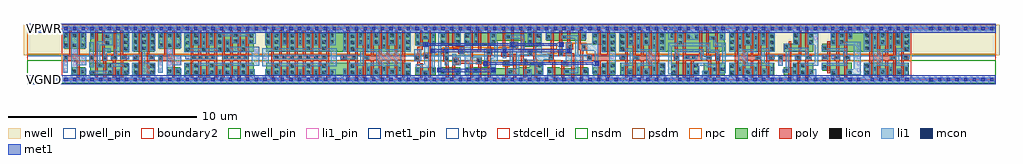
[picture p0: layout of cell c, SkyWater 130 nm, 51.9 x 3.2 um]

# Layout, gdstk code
import gdstk
lib = gdstk.Library(unit=1e-6, precision=1e-09)
def R(c, l, rs):  # rectangles x0, y0, x1, y1
    for r in rs: c.add(gdstk.rectangle(r[:2], r[2:], *l))
def A(c, l, x, y, w, h, nx, ny, dx, dy):  # array of equal rectangles
    R(c, l, [(x+i*dx, y+j*dy, x+i*dx+w, y+j*dy+h) for i in range(nx) for j in range(ny)])
def P(c, l, *ps):  # polygons
    for p in ps: c.add(gdstk.Polygon(p, *l))
nwell_pin = (64, 16)
nwell = (64, 20)
diff = (65, 20)
poly = (66, 20)
licon = (66, 44)
li1_pin = (67, 16)
li1 = (67, 20)
mcon = (67, 44)
met1_pin = (68, 16)
met1 = (68, 20)
hvtp = (78, 44)
stdcell_id = (81, 4)
nsdm = (93, 44)
psdm = (94, 20)
npc = (95, 20)
pwell_pin = (122, 16)
boundary2 = (236, 0)

c_c = lib.new_cell('c')
A(c_c, nwell_pin, 5.66, 2.635, 0.17, 0.17, 3, 1, 1.385, 0)
R(c_c, nwell_pin, [(47.94,2.61,48.225,2.765), (1.985,2.635,2.155,2.805), (3.365,2.635,3.535,2.805), (12.565,2.635,12.735,2.805), (16.515,2.635,16.685,2.805), (20.65,2.635,20.82,2.805), (20.65,2.635,20.82,2.805), (31.555,2.635,31.725,2.805), (34.16,2.635,34.33,2.805), (39.535,2.635,39.705,2.805), (40,2.635,40.17,2.805), (42.305,2.635,42.475,2.805), (46.7,2.635,46.87,2.805), (0.175,2.65,0.3,2.78)])
R(c_c, nwell, [(-0.19,1.305,2.03,2.91), (1.65,1.305,3.41,2.91), (3.03,1.305,5.71,2.91), (5.33,1.305,7.09,2.91), (6.71,1.305,8.47,2.91), (8.09,1.305,12.61,2.91), (12.23,1.305,16.75,2.91), (16.175,1.305,20.695,2.91), (20.315,1.305,31.735,2.91), (31.215,1.305,34.355,2.91), (33.825,1.305,37.425,2.91), (36.905,1.305,40.045,2.91), (39.665,1.305,42.345,2.91), (41.965,1.305,44.645,2.91), (44.07,1.305,47.21,2.91), (46.83,1.305,51.71,2.91)])
R(c_c, diff, [(2.39,0.235,3.085,0.655), (3.355,0.235,5.385,0.885), (5.675,0.235,6.765,0.885), (7.45,0.235,8.145,0.655), (8.415,0.235,12.045,0.885), (12.72,0.235,16.76,0.885), (16.76,0.235,20.37,0.885), (20.64,0.235,21.73,0.655), (22,0.235,23.03,0.655), (23.3,0.235,24.92,0.655), (24.92,0.235,26.14,0.595), (26.14,0.235,26.735,0.655), (26.735,0.235,27.395,0.875), (27.665,0.235,28.325,0.655), (28.325,0.235,29.165,0.595), (29.165,0.235,29.825,0.655), (30.095,0.235,30.58,0.655), (30.58,0.235,31.27,0.885), (31.54,0.235,33.89,0.885), (34.25,0.235,35.7,0.885), (35.97,0.235,37.1,0.885), (37.37,0.235,39.72,0.885), (40.225,0.235,40.71,0.655), (40.71,0.235,41.8,0.885), (42.775,0.235,43.865,0.885), (44.535,0.235,46.885,0.885), (42.29,0.465,42.775,0.885), (3.355,1.485,5.385,2.485), (5.675,1.485,6.765,2.485), (8.415,1.485,12.055,2.485), (12.72,1.485,16.76,2.485), (16.76,1.485,20.37,2.485), (30.58,1.485,31.27,2.485), (31.54,1.485,34.15,2.485), (34.15,1.485,37.1,2.485), (37.37,1.485,39.72,2.485), (40.23,1.485,40.77,1.905), (40.77,1.485,41.8,2.485), (42.29,1.485,42.775,1.905), (42.775,1.485,44.535,2.485), (44.535,1.485,46.885,2.485), (1.975,1.645,3.085,2.485), (7.035,1.645,8.145,2.485), (26.48,1.735,27.325,2.485), (20.64,1.815,21.73,2.455), (22,1.845,23.03,2.485), (23.3,1.845,24.92,2.485), (30.085,1.845,30.58,2.485), (24.92,2.065,26.48,2.485), (27.595,2.065,29.715,2.485)])
A(c_c, poly, 8.695, 0.105, 0.15, 2.51, 8, 1, 0.42, 0)
A(c_c, poly, 12.98, 0.105, 0.15, 2.51, 8, 1, 0.42, 0)
A(c_c, poly, 17.02, 0.105, 0.15, 2.51, 8, 1, 0.42, 0)
A(c_c, poly, 31.8, 0.105, 0.15, 2.51, 5, 1, 0.42, 0)
A(c_c, poly, 37.63, 0.105, 0.15, 2.51, 5, 1, 0.42, 0)
A(c_c, poly, 44.795, 0.105, 0.15, 2.51, 5, 1, 0.42, 0)
A(c_c, poly, 8.845, 0.995, 0.27, 0.33, 3, 1, 0.42, 0)
A(c_c, poly, 10.525, 0.995, 0.27, 0.33, 3, 1, 0.42, 0)
A(c_c, poly, 13.13, 0.995, 0.27, 0.33, 7, 1, 0.42, 0)
A(c_c, poly, 18.01, 1.025, 0.27, 0.27, 5, 1, 0.42, 0)
A(c_c, poly, 32.37, 1.025, 0.27, 0.27, 3, 1, 0.42, 0)
A(c_c, poly, 37.78, 1.025, 0.27, 0.27, 3, 1, 0.42, 0)
A(c_c, poly, 44.945, 1.025, 0.27, 0.27, 3, 1, 0.42, 0)
R(c_c, poly, [(2.65,0.105,2.655,1.345), (2.655,0.105,2.8,2.615), (3.615,0.105,3.765,2.615), (4.05,0.105,4.14,2.615), (4.14,0.105,4.2,1.325), (4.555,0.105,4.605,1.325), (4.605,0.105,4.705,2.615), (4.975,0.105,5.115,2.615), (5.115,0.105,5.125,1.325), (5.935,0.105,6.085,2.615), (6.355,0.105,6.505,2.615), (7.71,0.105,7.715,1.345), (7.715,0.105,7.86,2.615), (20.9,0.105,21.05,0.88), (21.32,0.105,21.47,2.585), (22.26,0.105,22.41,2.615), (22.62,0.105,22.63,0.88), (22.63,0.105,22.77,1.175), (23.56,0.105,23.71,2.615), (24,0.105,24.15,1.175), (24.51,0.105,24.66,2.615), (25.42,0.105,25.57,1.005), (25.86,0.105,26.01,1.365), (26.39,0.105,26.405,2.615), (26.405,0.105,26.54,1.065), (26.985,0.105,27.065,2.615), (27.065,0.105,27.135,1.1), (27.925,0.105,28.005,2.615), (28.005,0.105,28.075,1.045), (28.41,0.105,28.56,1.035), (28.94,0.105,29.09,1.395), (29.415,0.105,29.45,2.615), (29.45,0.105,29.565,1.905), (30.355,0.105,30.505,2.615), (30.84,0.105,30.99,2.615), (34.51,0.105,34.6,2.615), (34.6,0.105,34.66,1.325), (34.87,0.105,35.02,2.615), (35.29,0.105,35.44,1.325), (36.23,0.105,36.26,2.615), (36.26,0.105,36.38,1.325), (36.65,0.105,36.74,2.615), (36.74,0.105,36.8,1.325), (40.485,0.105,40.49,1.325), (40.49,0.105,40.635,2.035), (40.97,0.105,41.03,1.325), (41.03,0.105,41.12,2.615), (41.39,0.105,41.54,2.615), (43.035,0.105,43.185,2.615), (43.455,0.105,43.605,2.615), (42.55,0.335,42.7,2.035), (28.56,0.705,28.73,1.035), (20.74,0.73,20.89,1.74), (20.89,0.73,20.9,0.88), (25.32,0.735,25.42,1.005), (25.57,0.735,25.65,1.005), (26.255,0.795,26.39,2.615), (26.54,0.795,26.625,1.065), (22.77,0.81,22.96,1.175), (23.92,0.845,24,1.175), (24.15,0.845,24.19,1.175), (22.96,0.85,23.56,1), (27.73,0.895,27.855,1.375), (27.855,0.895,27.925,2.615), (26.915,0.95,26.985,2.615), (2.23,0.975,2.235,1.325), (2.235,0.975,2.385,2.615), (2.385,0.975,2.65,1.345), (7.29,0.975,7.295,1.325), (7.295,0.975,7.445,2.615), (7.445,0.975,7.71,1.345), (22.12,0.98,22.26,1.65), (22.41,0.98,22.42,1.65), (1.945,0.995,2.23,1.325), (3.325,0.995,3.615,1.325), (3.99,0.995,4.05,2.615), (4.2,0.995,4.275,1.325), (4.485,0.995,4.555,1.325), (4.705,0.995,4.755,2.615), (4.965,0.995,4.975,2.615), (5.125,0.995,5.295,1.325), (5.625,0.995,5.935,1.325), (6.505,0.995,6.795,1.325), (7.005,0.995,7.29,1.325), (20.62,0.995,20.74,1.325), (29.795,0.995,30.355,1.325), (30.505,0.995,30.84,1.325), (34.39,0.995,34.45,1.325), (34.45,0.995,34.51,2.615), (35.02,0.995,35.29,1.325), (35.44,0.995,35.75,1.325), (35.75,0.995,35.9,2.615), (36.11,0.995,36.23,2.615), (36.59,0.995,36.65,2.615), (36.8,0.995,36.86,1.325), (39.96,0.995,40.485,1.325), (40.635,0.995,40.64,2.035), (40.85,0.995,40.97,1.325), (41.12,0.995,41.18,2.615), (41.54,0.995,41.72,1.325), (42.265,0.995,42.55,1.325), (42.91,0.995,43.035,1.325), (43.185,0.995,43.24,1.325), (43.605,0.995,43.785,1.325), (31.545,1.015,31.8,1.305), (39.46,1.015,39.715,1.305), (46.625,1.015,46.88,1.305), (16.69,1.025,17.02,1.295), (17.17,1.025,17.44,1.295), (32.215,1.025,32.22,1.295), (39.04,1.025,39.045,1.295), (46.205,1.025,46.21,1.295), (21.1,1.1,21.32,1.37), (2.8,1.195,2.805,2.615), (7.86,1.195,7.865,2.615), (25.22,1.215,25.285,1.485), (25.285,1.215,25.435,2.615), (25.435,1.215,25.55,1.485), (25.55,1.215,25.86,1.365), (28.245,1.245,28.31,1.575), (28.31,1.245,28.46,2.615), (28.46,1.245,28.515,1.575), (28.515,1.245,28.94,1.395), (26.615,1.275,26.915,1.545), (24.46,1.32,24.51,1.65), (24.66,1.32,24.73,1.65), (22.92,1.385,23.25,1.77), (23.71,1.46,24,1.61), (24,1.46,24.15,2.615), (25.74,1.575,25.89,2.615), (25.89,1.575,26.045,1.905), (29.3,1.575,29.415,2.615), (29.565,1.575,29.705,1.905), (20.89,1.59,20.9,1.74), (20.9,1.59,21.05,2.585), (28.725,1.605,28.73,1.875), (28.73,1.605,28.88,2.615), (28.88,1.605,29.055,1.875), (22.63,1.62,22.77,2.615), (22.77,1.62,22.92,1.77), (22.62,1.715,22.63,2.615)])
A(c_c, licon, 12.76, 0.295, 0.17, 0.17, 9, 2, 0.42, 1.62)
A(c_c, licon, 8.475, 0.305, 0.17, 0.17, 9, 1, 0.42, 0)
A(c_c, licon, 40.75, 0.305, 0.17, 0.17, 3, 1, 0.42, 0)
A(c_c, licon, 16.8, 0.315, 0.17, 0.17, 4, 1, 0.84, 0)
A(c_c, licon, 18.06, 0.475, 0.17, 0.17, 3, 2, 0.84, 1.195)
A(c_c, licon, 31.58, 0.475, 0.17, 0.17, 3, 1, 0.84, 0)
A(c_c, licon, 37.83, 0.475, 0.17, 0.17, 3, 1, 0.84, 0)
A(c_c, licon, 44.995, 0.475, 0.17, 0.17, 3, 1, 0.84, 0)
A(c_c, licon, 13.18, 0.635, 0.17, 0.17, 4, 2, 0.84, 0.94)
A(c_c, licon, 8.895, 0.645, 0.17, 0.17, 4, 1, 0.84, 0)
A(c_c, licon, 8.795, 1.075, 0.17, 0.17, 4, 1, 0.34, 0)
A(c_c, licon, 10.49, 1.075, 0.17, 0.17, 4, 1, 0.34, 0)
A(c_c, licon, 13.18, 1.075, 0.17, 0.17, 7, 1, 0.42, 0)
A(c_c, licon, 8.475, 1.535, 0.17, 0.17, 3, 1, 0.84, 0)
A(c_c, licon, 17.22, 1.545, 0.17, 0.17, 1, 3, 0, 0.34)
A(c_c, licon, 30.62, 1.545, 0.17, 0.17, 1, 3, 0, 0.34)
A(c_c, licon, 31.05, 1.545, 0.17, 0.17, 1, 3, 0, 0.34)
A(c_c, licon, 31.58, 1.545, 0.17, 0.17, 1, 3, 0, 0.34)
A(c_c, licon, 39.51, 1.545, 0.17, 0.17, 1, 3, 0, 0.34)
A(c_c, licon, 46.675, 1.545, 0.17, 0.17, 1, 3, 0, 0.34)
A(c_c, licon, 5.165, 1.555, 0.17, 0.17, 1, 3, 0, 0.34)
A(c_c, licon, 5.715, 1.575, 0.17, 0.17, 3, 3, 0.42, 0.34)
A(c_c, licon, 2.015, 1.745, 0.17, 0.17, 3, 2, 0.42, 0.51)
A(c_c, licon, 7.075, 1.745, 0.17, 0.17, 3, 2, 0.42, 0.51)
A(c_c, licon, 16.8, 1.915, 0.17, 0.17, 5, 2, 0.84, 0.34)
A(c_c, licon, 32, 1.915, 0.17, 0.17, 3, 2, 0.84, 0.34)
A(c_c, licon, 37.41, 1.915, 0.17, 0.17, 3, 2, 0.84, 0.34)
A(c_c, licon, 44.575, 1.915, 0.17, 0.17, 3, 2, 0.84, 0.34)
A(c_c, licon, 18.06, 2.145, 0.17, 0.17, 3, 1, 0.84, 0)
A(c_c, licon, 12.76, 2.255, 0.17, 0.17, 9, 1, 0.42, 0)
A(c_c, licon, 42.815, 2.255, 0.17, 0.17, 3, 1, 0.42, 0)
R(c_c, licon, [(4.755,0.275,4.925,0.445), (5.715,0.295,5.885,0.465), (6.555,0.295,6.725,0.465), (17.22,0.295,17.39,0.465), (20.16,0.295,20.33,0.465), (21.1,0.295,21.27,0.465), (22.82,0.295,22.99,0.465), (33.68,0.295,33.85,0.465), (37.41,0.295,37.58,0.465), (42.815,0.295,42.985,0.465), (43.655,0.295,43.825,0.465), (44.575,0.295,44.745,0.465), (30.135,0.3,30.305,0.47), (3.395,0.305,3.565,0.475), (4.315,0.305,4.485,0.475), (5.175,0.305,5.345,0.475), (27.185,0.305,27.355,0.475), (34.29,0.305,34.46,0.475), (35.07,0.305,35.24,0.475), (35.49,0.305,35.66,0.475), (36.01,0.305,36.18,0.475), (30.62,0.31,30.79,0.48), (31.05,0.31,31.22,0.48), (32,0.315,32.17,0.485), (32.84,0.315,33.01,0.485), (38.25,0.315,38.42,0.485), (39.09,0.315,39.26,0.485), (45.415,0.315,45.585,0.485), (46.255,0.315,46.425,0.485), (25.62,0.325,25.79,0.495), (22.04,0.33,22.21,0.5), (26.595,0.335,26.765,0.505), (2.85,0.34,3.02,0.51), (7.91,0.34,8.08,0.51), (2.43,0.35,2.6,0.52), (7.49,0.35,7.66,0.52), (28.625,0.35,28.795,0.52), (23.77,0.36,23.94,0.53), (24.71,0.36,24.88,0.53), (27.705,0.365,27.875,0.535), (29.615,0.365,29.785,0.535), (40.265,0.37,40.435,0.54), (20.68,0.425,20.85,0.595), (21.52,0.425,21.69,0.595), (23.34,0.425,23.51,0.595), (36.43,0.47,36.6,0.64), (36.89,0.47,37.06,0.64), (42.33,0.605,42.5,0.775), (5.715,0.635,5.885,0.805), (6.555,0.635,6.725,0.805), (17.22,0.635,17.39,0.805), (20.16,0.635,20.33,0.805), (33.68,0.635,33.85,0.805), (37.41,0.635,37.58,0.805), (44.575,0.635,44.745,0.805), (3.815,0.645,3.985,0.815), (4.315,0.645,4.485,0.815), (5.175,0.645,5.345,0.815), (8.475,0.645,8.645,0.815), (27.185,0.645,27.355,0.815), (34.29,0.645,34.46,0.815), (35.07,0.645,35.24,0.815), (35.49,0.645,35.66,0.815), (40.75,0.645,40.92,0.815), (41.17,0.645,41.34,0.815), (30.62,0.65,30.79,0.82), (31.05,0.65,31.22,0.82), (25.4,0.785,25.57,0.955), (28.51,0.785,28.68,0.955), (26.375,0.845,26.545,1.015), (22.71,0.925,22.88,1.095), (23.97,0.925,24.14,1.095), (22.2,1.06,22.37,1.23), (1.995,1.075,2.165,1.245), (3.375,1.075,3.545,1.245), (4.055,1.075,4.225,1.245), (4.535,1.075,4.705,1.245), (5.055,1.075,5.225,1.245), (5.7,1.075,5.87,1.245), (6.54,1.075,6.71,1.245), (7.055,1.075,7.225,1.245), (16.825,1.075,16.995,1.245), (17.3,1.075,17.47,1.245), (17.94,1.075,18.11,1.245), (20.67,1.075,20.84,1.245), (29.845,1.075,30.015,1.245), (31.625,1.075,31.795,1.245), (32.295,1.075,32.465,1.245), (34.44,1.075,34.61,1.245), (35.025,1.075,35.195,1.245), (35.365,1.075,35.535,1.245), (36.16,1.075,36.33,1.245), (36.64,1.075,36.81,1.245), (38.795,1.075,38.965,1.245), (39.465,1.075,39.635,1.245), (40.01,1.075,40.18,1.245), (40.93,1.075,41.1,1.245), (41.47,1.075,41.64,1.245), (42.345,1.075,42.515,1.245), (42.99,1.075,43.16,1.245), (43.535,1.075,43.705,1.245), (45.96,1.075,46.13,1.245), (46.63,1.075,46.8,1.245), (27.78,1.125,27.95,1.295), (21.18,1.15,21.35,1.32), (25.3,1.265,25.47,1.435), (26.695,1.325,26.865,1.495), (28.295,1.325,28.465,1.495), (22.2,1.4,22.37,1.57), (24.51,1.4,24.68,1.57), (23,1.435,23.17,1.605), (10.575,1.535,10.745,1.705), (11.415,1.535,11.585,1.705), (16.8,1.575,16.97,1.745), (20.16,1.575,20.33,1.745), (33.68,1.575,33.85,1.745), (37.41,1.575,37.58,1.745), (42.33,1.575,42.5,1.745), (44.575,1.575,44.745,1.745), (40.27,1.645,40.44,1.815), (25.825,1.655,25.995,1.825), (28.805,1.655,28.975,1.825), (29.485,1.655,29.655,1.825), (32.42,1.67,32.59,1.84), (33.26,1.67,33.43,1.84), (37.83,1.67,38,1.84), (38.67,1.67,38.84,1.84), (44.995,1.67,45.165,1.84), (45.835,1.67,46.005,1.84), (27.115,1.795,27.285,1.965), (4.19,1.875,4.36,2.045), (8.475,1.875,8.645,2.045), (9.315,1.875,9.485,2.045), (10.575,1.875,10.745,2.045), (11.415,1.875,11.585,2.045), (20.68,1.875,20.85,2.045), (21.52,1.875,21.69,2.045), (34.65,1.875,34.82,2.045), (22.04,1.905,22.21,2.075), (23.34,1.905,23.51,2.075), (23.77,1.905,23.94,2.075), (30.125,1.905,30.295,2.075), (8.895,1.915,9.065,2.085), (9.735,1.915,9.905,2.085), (10.155,1.915,10.325,2.085), (11.835,1.915,12.005,2.085), (22.82,1.915,22.99,2.085), (24.71,1.915,24.88,2.085), (26.665,1.915,26.835,2.085), (40.81,1.915,40.98,2.085), (41.59,1.915,41.76,2.085), (42.815,1.915,42.985,2.085), (43.235,1.915,43.405,2.085), (10.995,1.935,11.165,2.105), (36.37,2.125,36.54,2.295), (21.1,2.135,21.27,2.305), (32.42,2.145,32.59,2.315), (33.26,2.145,33.43,2.315), (37.83,2.145,38,2.315), (38.67,2.145,38.84,2.315), (44.995,2.145,45.165,2.315), (45.835,2.145,46.005,2.315), (28.51,2.175,28.68,2.345), (25.5,2.19,25.67,2.36), (27.635,2.19,27.805,2.36), (35.07,2.205,35.24,2.375), (35.53,2.205,35.7,2.375), (36.83,2.205,37,2.375), (4.19,2.215,4.36,2.385), (8.475,2.215,8.645,2.385), (9.315,2.215,9.485,2.385), (20.68,2.215,20.85,2.385), (21.52,2.215,21.69,2.385), (29.505,2.215,29.675,2.385), (34.65,2.215,34.82,2.385), (3.395,2.255,3.565,2.425), (8.895,2.255,9.065,2.425), (9.735,2.255,9.905,2.425), (10.155,2.255,10.325,2.425), (11.835,2.255,12.005,2.425), (22.04,2.255,22.21,2.425), (22.82,2.255,22.99,2.425), (23.34,2.255,23.51,2.425), (23.77,2.255,23.94,2.425), (24.71,2.255,24.88,2.425), (26.665,2.255,26.835,2.425), (27.115,2.255,27.285,2.425), (30.125,2.255,30.295,2.425), (34.23,2.255,34.4,2.425), (40.81,2.255,40.98,2.425), (41.59,2.255,41.76,2.425), (10.995,2.275,11.165,2.445)])
A(c_c, li1_pin, 44.14, 0.425, 0.17, 0.17, 1, 5, 0, 0.34)
A(c_c, li1_pin, 1.985, 0.765, 0.17, 0.17, 4, 1, 0.46, 0)
A(c_c, li1_pin, 7.045, 0.765, 0.17, 0.17, 3, 2, 0.46, 0.34)
A(c_c, li1_pin, 18.575, 0.765, 0.17, 0.17, 1, 3, 0, 0.34)
A(c_c, li1_pin, 32.935, 0.765, 0.17, 0.17, 1, 3, 0, 0.34)
A(c_c, li1_pin, 38.155, 0.765, 0.17, 0.17, 1, 3, 0, 0.34)
A(c_c, li1_pin, 45.32, 0.765, 0.17, 0.17, 1, 3, 0, 0.34)
A(c_c, li1_pin, 1.985, 1.105, 0.17, 0.17, 3, 1, 0.46, 0)
A(c_c, li1_pin, 5.66, 1.105, 0.17, 0.17, 3, 1, 0.46, 0)
A(c_c, li1_pin, 13.485, 1.105, 0.17, 0.17, 7, 1, 0.46, 0)
R(c_c, li1_pin, [(16.515,-0.085,16.685,0.085), (31.555,-0.085,31.725,0.085), (39.535,-0.085,39.705,0.085), (46.7,-0.085,46.87,0.085), (1.985,0.425,2.155,0.595), (6.12,0.425,6.29,0.595), (7.045,0.425,7.215,0.595), (6.12,0.765,6.29,0.935), (22.635,0.765,22.805,0.935), (40,0.765,40.17,0.935), (5.205,1.105,5.375,1.275), (8.43,1.105,8.6,1.275), (8.89,1.105,9.06,1.275), (11.19,1.105,11.36,1.275), (12.565,1.105,12.735,1.275), (16.755,1.105,16.925,1.275), (17.255,1.105,17.425,1.275), (20.65,1.105,20.82,1.275), (22.225,1.105,22.395,1.275), (31.03,1.105,31.2,1.275), (31.555,1.105,31.725,1.275), (35.08,1.105,35.25,1.275), (39.535,1.105,39.705,1.275), (40,1.105,40.17,1.275), (40.92,1.105,41.09,1.275), (42.305,1.105,42.475,1.275), (42.765,1.105,42.935,1.275), (46.7,1.105,46.87,1.275), (2.445,1.445,2.615,1.615), (4.285,1.445,4.455,1.615), (7.505,1.445,7.675,1.615), (12.105,1.445,12.275,1.615), (34.62,1.445,34.79,1.615), (4.745,1.785,4.915,1.955), (36.92,1.785,37.09,1.955), (4.285,2.125,4.455,2.295), (41.84,2.125,42.01,2.295), (16.515,2.635,16.685,2.805), (31.555,2.635,31.725,2.805), (39.535,2.635,39.705,2.805), (46.7,2.635,46.87,2.805)])
A(c_c, li1, 8.645, -0.085, 0.67, 0.17, 4, 1, 0.84, 0)
A(c_c, li1, 9.315, -0.085, 0.17, 0.64, 3, 1, 0.84, 0)
A(c_c, li1, 12.93, -0.085, 0.67, 0.17, 4, 2, 0.84, 2.72)
A(c_c, li1, 13.6, -0.085, 0.17, 0.63, 3, 1, 0.84, 0)
A(c_c, li1, 13.1, 0.255, 0.33, 0.65, 4, 1, 0.84, 0)
A(c_c, li1, 13.43, 0.715, 0.51, 0.19, 3, 1, 0.84, 0)
A(c_c, li1, 9.145, 0.725, 0.51, 0.18, 3, 1, 0.84, 0)
A(c_c, li1, 13.1, 1.495, 0.33, 0.97, 4, 1, 0.84, 0)
A(c_c, li1, 13.43, 1.495, 0.51, 0.17, 3, 1, 0.84, 0)
A(c_c, li1, 13.6, 1.835, 0.17, 0.97, 3, 1, 0.84, 0)
R(c_c, li1, [(0,-0.085,1.84,0.085), (1.84,-0.085,2.85,0.085), (2.85,-0.085,3.135,0.59), (3.135,-0.085,3.22,0.085), (3.22,-0.085,4.755,0.085), (4.755,-0.085,4.925,0.525), (4.925,-0.085,5.52,0.085), (5.52,-0.085,5.605,0.085), (5.605,-0.085,5.915,0.885), (5.915,-0.085,6.9,0.085), (6.9,-0.085,7.91,0.085), (7.91,-0.085,8.195,0.59), (8.195,-0.085,8.28,0.085), (8.28,-0.085,8.37,0.085), (8.37,-0.085,8.645,0.905), (11.835,-0.085,12.12,0.555), (12.12,-0.085,12.42,0.085), (12.42,-0.085,12.675,0.085), (12.675,-0.085,12.93,0.545), (16.12,-0.085,16.425,0.545), (16.365,-0.085,16.8,0.085), (16.425,-0.085,16.56,0.085), (16.8,-0.085,16.97,0.565), (16.97,-0.085,17.64,0.085), (17.64,-0.085,17.81,0.565), (17.81,-0.085,18.4,0.085), (18.4,-0.085,18.73,0.565), (18.73,-0.085,19.24,0.085), (19.24,-0.085,19.57,0.565), (19.57,-0.085,20.08,0.085), (20.08,-0.085,20.41,0.885), (20.41,-0.085,20.505,0.085), (20.505,-0.085,21.02,0.085), (21.02,-0.085,21.35,0.465), (21.35,-0.085,22.74,0.085), (22.74,-0.085,23.07,0.515), (23.07,-0.085,23.69,0.085), (23.69,-0.085,24.02,0.61), (24.02,-0.085,26.45,0.085), (26.45,-0.085,26.845,0.56), (26.845,-0.085,27.67,0.085), (27.67,-0.085,27.945,0.615), (27.945,-0.085,29.555,0.085), (29.555,-0.085,29.87,0.615), (29.87,-0.085,30.555,0.085), (30.555,-0.085,30.8,0.9), (30.8,-0.085,31.545,0.085), (31.405,-0.085,31.93,0.085), (31.93,-0.085,32.17,0.565), (32.17,-0.085,32.76,0.085), (32.76,-0.085,33.09,0.565), (33.09,-0.085,33.6,0.085), (33.6,-0.085,33.93,0.885), (33.93,-0.085,34.165,0.085), (34.015,-0.085,35.07,0.085), (35.07,-0.085,35.24,0.905), (35.24,-0.085,35.91,0.085), (35.91,-0.085,36.26,0.475), (36.26,-0.085,37.235,0.085), (37.095,-0.085,37.33,0.085), (37.33,-0.085,37.66,0.885), (37.66,-0.085,38.17,0.085), (38.17,-0.085,38.5,0.565), (38.5,-0.085,39.09,0.085), (39.09,-0.085,39.33,0.565), (39.33,-0.085,39.855,0.085), (39.855,-0.085,40.71,0.085), (40.71,-0.085,40.92,0.895), (40.92,-0.085,41.59,0.085), (41.59,-0.085,41.975,0.555), (41.975,-0.085,42.155,0.085), (42.155,-0.085,42.735,0.085), (42.735,-0.085,43.065,0.545), (43.065,-0.085,44.455,0.085), (44.26,-0.085,44.495,0.085), (44.495,-0.085,44.825,0.885), (44.825,-0.085,45.335,0.085), (45.335,-0.085,45.665,0.565), (45.665,-0.085,46.255,0.085), (46.255,-0.085,46.495,0.565), (46.495,-0.085,47.02,0.085), (47.02,-0.085,51.52,0.085), (2.355,0.255,2.68,2.465), (6.12,0.255,6.29,2.465), (6.29,0.255,6.385,0.885), (6.385,0.255,6.815,0.885), (7.415,0.255,7.74,2.465), (8.815,0.255,9.145,0.905), (9.655,0.255,9.985,0.905), (10.495,0.255,10.575,0.905), (10.575,0.255,10.745,0.905), (10.745,0.255,10.825,0.905), (11.335,0.255,11.415,0.905), (11.415,0.255,11.585,0.905), (11.585,0.255,11.665,0.905), (17.14,0.255,17.47,0.905), (18.06,0.255,18.23,0.905), (18.9,0.255,19.07,2.465), (19.74,0.255,19.91,2.465), (21.86,0.255,22.03,2.465), (22.03,0.255,22.29,0.515), (23.285,0.255,23.51,2.425), (24.65,0.255,24.85,1.15), (24.85,0.255,24.92,2.465), (25.51,0.255,26.015,0.565), (26.015,0.255,26.185,1.485), (27.035,0.255,27.365,2.465), (27.365,0.255,27.44,1.375), (31.58,0.255,31.75,0.905), (32.42,0.255,32.59,0.905), (33.26,0.255,33.43,2.465), (35.41,0.255,35.74,0.905), (36.43,0.255,36.66,0.825), (37.83,0.255,38,2.465), (38.67,0.255,38.84,0.905), (39.51,0.255,39.68,0.905), (41.09,0.255,41.42,0.895), (43.575,0.255,43.955,0.545), (43.955,0.255,44.325,2.005), (44.995,0.255,45.165,2.465), (45.835,0.255,46.005,0.905), (46.675,0.255,46.845,0.905), (5.095,0.28,5.435,0.865), (34.1,0.28,34.27,1.955), (34.27,0.28,34.565,0.825), (3.305,0.295,4.235,0.475), (4.235,0.295,4.405,0.825), (4.405,0.295,4.565,0.865), (30.055,0.3,30.195,0.825), (30.195,0.3,30.385,2.465), (30.97,0.305,31.3,2.42), (28.53,0.33,29.145,0.535), (29.145,0.33,29.315,2.355), (20.68,0.345,20.85,0.805), (21.52,0.345,21.69,2.465), (36.83,0.345,36.98,0.825), (36.98,0.345,37.15,1.955), (40.185,0.37,40.27,0.545), (40.27,0.37,40.35,0.545), (40.35,0.37,40.53,1.905), (1.925,0.375,2.165,1.325), (6.985,0.375,7.225,1.325), (42.245,0.525,42.515,0.905), (20.85,0.635,21.12,0.805), (21.12,0.635,21.35,1.965), (3.715,0.645,3.885,2.045), (3.885,0.645,4.055,0.825), (4.055,0.645,4.065,0.825), (36.15,0.655,36.32,0.905), (36.32,0.655,36.43,0.825), (3.305,0.665,3.545,1.99), (24.31,0.685,24.48,1.65), (4.565,0.695,5.095,0.865), (28.51,0.705,28.655,1.035), (28.655,0.705,28.975,1.995), (12.505,0.715,12.85,1.665), (12.85,0.715,13.1,0.905), (15.95,0.715,16.155,0.905), (16.155,0.715,16.475,1.665), (11.665,0.725,11.935,0.905), (11.935,0.725,12.335,1.745), (39.955,0.725,40.18,1.325), (41.42,0.725,41.51,0.895), (41.51,0.725,41.89,0.895), (41.89,0.725,42.07,2.465), (17.47,0.735,17.72,0.905), (17.72,0.735,17.89,1.655), (18.23,0.735,18.575,0.905), (18.575,0.735,18.9,1.615), (19.07,0.735,19.74,1.615), (25.32,0.735,25.655,0.955), (25.655,0.735,25.825,2.005), (31.75,0.735,31.83,0.905), (31.83,0.735,32.045,0.905), (32.045,0.735,32.215,1.655), (32.59,0.735,32.935,0.905), (32.935,0.735,33.26,1.615), (35.74,0.735,36.15,0.905), (38,0.735,38.325,1.615), (38.325,0.735,38.67,0.905), (39.045,0.735,39.215,1.655), (39.215,0.735,39.43,0.905), (39.43,0.735,39.51,0.905), (42.515,0.735,42.525,0.905), (42.525,0.735,43.41,0.905), (43.41,0.735,43.58,1.665), (45.165,0.735,45.49,1.615), (45.49,0.735,45.835,0.905), (46.21,0.735,46.38,1.655), (46.38,0.735,46.595,0.905), (46.595,0.735,46.675,0.905), (2.68,0.76,2.685,2.465), (2.685,0.76,3.135,1.29), (7.74,0.76,7.745,2.465), (7.745,0.76,8.195,1.29), (22.2,0.765,22.42,1.72), (22.615,0.765,22.83,1.37), (22.83,0.765,23.07,1.185), (26.375,0.765,26.575,1.095), (26.575,0.765,27.035,1.065), (23.51,0.845,23.59,2.425), (23.59,0.845,24.14,1.175), (20.6,0.975,20.95,1.625), (24.92,0.98,24.96,2.465), (24.96,0.98,25.02,2.02), (4.055,0.995,4.225,1.665), (29.315,0.995,30.015,1.325), (34.44,0.995,34.685,1.615), (36.64,0.995,36.81,1.585), (27.44,1.045,27.95,1.375), (5.615,1.055,5.95,1.325), (40.815,1.065,41.18,1.325), (4.44,1.075,4.625,1.245), (4.625,1.075,4.745,1.615), (4.745,1.075,4.805,2.405), (4.975,1.075,5.435,1.275), (6.46,1.075,6.795,1.325), (8.42,1.075,10.08,1.275), (10.4,1.075,11.765,1.275), (13.1,1.075,15.955,1.325), (16.645,1.075,17.55,1.315), (17.89,1.075,18.19,1.245), (31.495,1.075,31.875,1.315), (32.215,1.075,32.545,1.245), (34.945,1.075,35.64,1.275), (35.81,1.075,35.98,1.615), (35.98,1.075,36.41,1.245), (38.715,1.075,39.045,1.245), (39.385,1.075,39.765,1.315), (41.39,1.075,41.56,1.68), (41.56,1.075,41.72,1.245), (42.245,1.075,42.595,1.315), (42.765,1.075,43.24,1.315), (43.58,1.075,43.785,1.325), (45.88,1.075,46.21,1.245), (46.55,1.075,46.93,1.315), (25.3,1.125,25.485,1.72), (26.695,1.245,26.865,1.575), (28.295,1.245,28.485,1.965), (26.185,1.315,26.29,1.485), (26.29,1.315,26.46,2.375), (26.46,1.315,26.695,1.575), (24.48,1.32,24.68,1.65), (23,1.355,23.26,1.72), (23.26,1.355,23.285,2.425), (4.225,1.415,4.455,1.665), (36.15,1.415,36.32,1.955), (36.32,1.415,36.64,1.585), (4.805,1.445,4.945,2.405), (10.575,1.445,10.745,2.125), (10.745,1.445,10.825,1.745), (10.825,1.445,11.335,1.745), (11.335,1.445,11.415,1.745), (11.415,1.445,11.585,2.125), (11.585,1.445,11.665,1.745), (11.665,1.445,11.935,1.745), (18.06,1.445,18.23,2.465), (18.23,1.445,18.575,1.615), (32.42,1.445,32.59,2.465), (32.59,1.445,32.935,1.615), (34.685,1.445,35.81,1.615), (38.325,1.445,38.67,1.615), (38.67,1.445,38.84,2.465), (45.49,1.445,45.835,1.615), (45.835,1.445,46.005,2.465), (5.115,1.455,5.435,2.805), (8.37,1.455,8.645,2.465), (8.645,1.455,9.315,1.665), (9.315,1.455,9.485,2.465), (9.485,1.455,10.075,1.665), (10.075,1.455,10.405,2.465), (30.555,1.465,30.8,2.805), (6.055,1.485,6.12,2.465), (6.29,1.485,6.385,2.465), (16.8,1.485,16.97,2.805), (17.14,1.485,17.47,2.465), (17.47,1.485,17.72,1.655), (20.08,1.485,20.41,2.805), (31.5,1.485,31.58,2.465), (31.58,1.485,31.75,2.465), (31.75,1.485,31.83,2.465), (31.83,1.485,32.045,1.655), (33.6,1.485,33.93,2.805), (37.33,1.485,37.66,2.805), (39.215,1.485,39.43,1.655), (39.43,1.485,39.51,2.465), (39.51,1.485,39.68,2.465), (39.68,1.485,39.76,2.465), (44.495,1.485,44.825,2.805), (46.38,1.485,46.595,1.655), (46.595,1.485,46.675,2.465), (46.675,1.485,46.845,2.465), (46.845,1.485,46.925,2.465), (5.605,1.495,5.885,2.805), (6.555,1.495,6.815,2.805), (12.85,1.495,13.1,1.665), (15.95,1.495,16.155,1.665), (42.245,1.495,42.515,1.825), (42.515,1.495,42.525,1.825), (42.525,1.495,43.41,1.665), (40.27,1.51,40.35,1.905), (40.53,1.51,41.39,1.68), (29.485,1.53,30.045,1.905), (30.045,1.53,30.055,2.465), (30.055,1.53,30.195,2.465), (25.825,1.655,26.12,2.005), (1.925,1.665,2.185,2.805), (2.855,1.665,3.135,2.805), (6.985,1.665,7.245,2.805), (7.915,1.665,8.195,2.805), (36.49,1.755,36.66,2.295), (36.66,1.755,36.83,1.955), (36.83,1.755,36.98,1.955), (34.27,1.785,34.565,1.955), (34.565,1.785,34.57,1.955), (34.57,1.785,34.9,2.465), (34.9,1.785,36.15,1.955), (20.68,1.795,20.85,2.465), (20.85,1.795,21.12,1.965), (24.63,1.82,24.65,2.465), (24.65,1.82,24.85,2.465), (23.77,1.825,23.965,2.805), (3.885,1.835,4.055,2.045), (4.055,1.835,4.065,2.465), (4.065,1.835,4.555,2.465), (8.815,1.835,9.145,2.805), (9.655,1.835,9.905,2.805), (12.675,1.835,12.93,2.805), (16.12,1.835,16.42,2.805), (17.64,1.835,17.88,2.805), (18.4,1.835,18.73,2.805), (19.24,1.835,19.57,2.805), (26.63,1.835,26.865,2.805), (32,1.835,32.24,2.805), (32.76,1.835,33.09,2.805), (38.17,1.835,38.5,2.805), (39.02,1.835,39.26,2.805), (42.735,1.835,42.985,2.805), (43.155,1.835,43.485,2.465), (43.485,1.835,43.575,2.005), (43.575,1.835,43.955,2.005), (45.335,1.835,45.665,2.805), (46.185,1.835,46.425,2.805), (41.51,1.85,41.89,2.465), (40.73,1.855,41.06,2.805), (22.03,1.89,22.29,2.465), (22.74,1.89,23.07,2.805), (11.755,1.915,12.17,2.465), (10.915,1.935,11.245,2.465), (27.575,2.105,27.865,2.805), (34.1,2.125,34.4,2.805), (35.07,2.125,35.7,2.805), (36.28,2.125,36.49,2.295), (36.83,2.125,37.13,2.805), (21.02,2.135,21.35,2.805), (29.485,2.135,29.745,2.805), (28.43,2.165,28.53,2.355), (28.53,2.165,29.145,2.355), (3.355,2.175,3.565,2.805), (25.42,2.175,25.51,2.375), (25.51,2.175,26.015,2.375), (26.015,2.175,26.185,2.375), (26.185,2.175,26.29,2.375), (43.655,2.175,43.87,2.805), (10.405,2.295,10.915,2.465), (11.245,2.295,11.755,2.465), (0,2.635,1.84,2.805), (1.84,2.635,1.925,2.805), (2.185,2.635,2.855,2.805), (3.135,2.635,3.22,2.805), (3.22,2.635,3.355,2.805), (3.565,2.635,5.115,2.805), (5.435,2.635,5.52,2.805), (5.52,2.635,5.605,2.805), (5.885,2.635,6.555,2.805), (6.815,2.635,6.9,2.805), (6.9,2.635,6.985,2.805), (7.245,2.635,7.915,2.805), (8.195,2.635,8.28,2.805), (8.28,2.635,8.815,2.805), (9.145,2.635,9.655,2.805), (9.905,2.635,12.42,2.805), (12.42,2.635,12.675,2.805), (16.365,2.635,16.8,2.805), (16.42,2.635,16.56,2.805), (16.97,2.635,17.64,2.805), (17.88,2.635,18.4,2.805), (18.73,2.635,19.24,2.805), (19.57,2.635,20.08,2.805), (20.41,2.635,20.505,2.805), (20.505,2.635,21.02,2.805), (21.35,2.635,22.74,2.805), (23.07,2.635,23.77,2.805), (23.965,2.635,26.63,2.805), (26.865,2.635,27.575,2.805), (27.865,2.635,29.485,2.805), (29.745,2.635,30.555,2.805), (30.8,2.635,31.545,2.805), (31.405,2.635,32,2.805), (32.24,2.635,32.76,2.805), (33.09,2.635,33.6,2.805), (33.93,2.635,34.165,2.805), (34.015,2.635,34.1,2.805), (34.4,2.635,35.07,2.805), (35.7,2.635,36.83,2.805), (37.095,2.635,37.33,2.805), (37.13,2.635,37.235,2.805), (37.66,2.635,38.17,2.805), (38.5,2.635,39.02,2.805), (39.26,2.635,39.855,2.805), (39.855,2.635,40.73,2.805), (41.06,2.635,42.155,2.805), (42.155,2.635,42.735,2.805), (42.985,2.635,43.655,2.805), (43.87,2.635,44.455,2.805), (44.26,2.635,44.495,2.805), (44.825,2.635,45.335,2.805), (45.665,2.635,46.185,2.805), (46.425,2.635,47.02,2.805), (47.02,2.635,51.52,2.805)])
A(c_c, mcon, 0.145, -0.085, 0.17, 0.17, 36, 2, 0.46, 2.72)
A(c_c, mcon, 16.97, -0.085, 0.17, 0.17, 32, 2, 0.46, 2.72)
A(c_c, mcon, 32.01, -0.085, 0.17, 0.17, 5, 2, 0.46, 2.72)
A(c_c, mcon, 34.62, -0.085, 0.17, 0.17, 6, 2, 0.46, 2.72)
A(c_c, mcon, 37.7, -0.085, 0.17, 0.17, 15, 2, 0.46, 2.72)
A(c_c, mcon, 44.865, -0.085, 0.17, 0.17, 5, 2, 0.46, 2.72)
A(c_c, mcon, 47.985, -0.085, 0.17, 0.17, 8, 2, 0.46, 2.72)
R(c_c, mcon, [(21.86,0.425,22.03,0.595), (24.69,0.425,24.86,0.595), (24.31,0.765,24.48,0.935), (30.205,0.765,30.375,0.935), (21.52,1.445,21.69,1.615), (25.305,1.445,25.475,1.615), (28.725,1.445,28.895,1.615), (21.14,1.785,21.31,1.955), (25.715,1.785,25.885,1.955), (28.305,1.785,28.475,1.955)])
P(c_c, mcon, [(16.51,-0.085),(16.51,-0.085),(16.51,-0.085),(16.51,-0.085)],
  [(16.51,2.635),(16.51,2.635),(16.51,2.635),(16.51,2.635)],
  [(31.55,-0.085),(31.55,-0.085),(31.55,-0.085),(31.55,-0.085)],
  [(31.55,2.635),(31.55,2.635),(31.55,2.635),(31.55,2.635)],
  [(34.16,-0.085),(34.16,-0.085),(34.16,-0.085),(34.16,-0.085)],
  [(34.16,2.635),(34.16,2.635),(34.16,2.635),(34.16,2.635)],
  [(37.24,-0.085),(37.24,-0.085),(37.24,-0.085),(37.24,-0.085)],
  [(37.24,2.635),(37.24,2.635),(37.24,2.635),(37.24,2.635)],
  [(44.405,-0.085),(44.405,-0.085),(44.405,-0.085),(44.405,-0.085)],
  [(44.405,2.635),(44.405,2.635),(44.405,2.635),(44.405,2.635)])
A(c_c, met1_pin, 5.66, -0.085, 0.17, 0.17, 3, 2, 1.385, 2.72)
R(c_c, met1_pin, [(48.015,-0.1,48.175,0.05), (1.985,-0.085,2.155,0.085), (3.365,-0.085,3.535,0.085), (12.565,-0.085,12.735,0.085), (16.515,-0.085,16.685,0.085), (20.65,-0.085,20.82,0.085), (31.555,-0.085,31.725,0.085), (34.16,-0.085,34.33,0.085), (39.535,-0.085,39.705,0.085), (40,-0.085,40.17,0.085), (42.305,-0.085,42.475,0.085), (46.7,-0.085,46.87,0.085), (0.17,-0.05,0.285,0.045), (47.985,2.615,48.175,2.775), (1.985,2.635,2.155,2.805), (3.365,2.635,3.535,2.805), (12.565,2.635,12.735,2.805), (16.515,2.635,16.685,2.805), (20.65,2.635,20.82,2.805), (31.555,2.635,31.725,2.805), (34.16,2.635,34.33,2.805), (39.535,2.635,39.705,2.805), (40,2.635,40.17,2.805), (42.305,2.635,42.475,2.805), (46.7,2.635,46.87,2.805), (0.17,2.675,0.27,2.76)])
R(c_c, met1, [(0,-0.24,1.84,0.24), (1.84,-0.24,3.22,0.24), (3.22,-0.24,5.52,0.24), (5.52,-0.24,6.9,0.24), (6.9,-0.24,8.28,0.24), (8.28,-0.24,12.42,0.24), (12.42,-0.24,16.56,0.24), (16.365,-0.24,20.505,0.24), (20.505,-0.24,31.545,0.24), (31.405,-0.24,34.165,0.24), (34.015,-0.24,37.235,0.24), (37.095,-0.24,39.855,0.24), (39.855,-0.24,42.155,0.24), (42.155,-0.24,44.455,0.24), (44.26,-0.24,47.02,0.24), (47.02,-0.24,51.52,0.24), (21.8,0.395,22.09,0.625), (22.09,0.395,24.63,0.58), (24.63,0.395,24.92,0.625), (24.25,0.735,24.54,0.965), (30.145,0.735,30.435,0.965), (24.54,0.78,30.145,0.92), (21.46,1.415,21.75,1.645), (25.245,1.415,25.535,1.645), (28.665,1.415,28.955,1.645), (21.75,1.46,25.245,1.6), (25.535,1.46,28.665,1.6), (21.08,1.755,21.37,1.985), (25.655,1.755,25.945,1.985), (28.245,1.755,28.535,1.985), (21.37,1.8,25.655,1.94), (25.945,1.8,28.245,1.94), (0,2.48,1.84,2.96), (1.84,2.48,3.22,2.96), (3.22,2.48,5.52,2.96), (5.52,2.48,6.9,2.96), (6.9,2.48,8.28,2.96), (8.28,2.48,12.42,2.96), (12.42,2.48,16.56,2.96), (16.365,2.48,20.505,2.96), (20.505,2.48,31.545,2.96), (31.405,2.48,34.165,2.96), (34.015,2.48,37.235,2.96), (37.095,2.48,39.855,2.96), (39.855,2.48,42.155,2.96), (42.155,2.48,44.455,2.96), (44.26,2.48,47.02,2.96), (47.02,2.48,51.52,2.96)])
R(c_c, hvtp, [(0,1.25,1.84,2.72), (1.84,1.25,3.22,2.72), (3.22,1.25,5.52,2.72), (5.52,1.25,6.9,2.72), (6.9,1.25,8.28,2.72), (8.28,1.25,12.42,2.72), (12.42,1.25,16.56,2.72), (16.365,1.25,20.505,2.72), (20.505,1.25,31.545,2.72), (31.405,1.25,34.165,2.72), (34.015,1.25,37.235,2.72), (37.095,1.25,39.855,2.72), (39.855,1.25,42.155,2.72), (42.155,1.25,44.455,2.72), (44.26,1.25,47.02,2.72), (47.02,1.25,51.52,2.72)])
R(c_c, stdcell_id, [(0,0,1.84,2.72), (1.84,0,3.22,2.72), (3.22,0,5.52,2.72), (5.52,0,6.9,2.72), (6.9,0,8.28,2.72), (8.28,0,12.42,2.72), (12.42,0,16.56,2.72), (16.365,0,20.505,2.72), (20.505,0,31.545,2.72), (31.405,0,34.165,2.72), (34.015,0,37.235,2.72), (37.095,0,39.855,2.72), (39.855,0,42.155,2.72), (42.155,0,44.455,2.72), (44.26,0,47.02,2.72), (47.02,0,51.52,2.72)])
R(c_c, nsdm, [(0,-0.19,1.84,1.015), (1.84,-0.19,3.22,1.015), (3.22,-0.19,5.52,1.015), (5.52,-0.19,6.9,1.015), (6.9,-0.19,8.28,1.015), (8.28,-0.19,12.42,1.015), (12.42,-0.19,16.56,1.015), (16.365,-0.19,20.505,1.015), (20.505,-0.19,31.545,1.015), (31.405,-0.19,34.165,1.015), (34.015,-0.19,37.235,1.015), (37.095,-0.19,39.855,1.015), (39.855,-0.19,42.155,1.015), (42.155,-0.19,44.455,1.015), (44.26,-0.19,47.02,1.015), (47.02,-0.19,51.52,1.015)])
R(c_c, psdm, [(0,1.355,1.84,2.91), (1.84,1.355,3.22,2.91), (3.22,1.355,5.52,2.91), (5.52,1.355,6.9,2.91), (6.9,1.355,8.28,2.91), (8.28,1.355,12.42,2.91), (12.42,1.355,16.56,2.91), (16.365,1.355,20.505,2.91), (20.505,1.355,21.07,2.91), (21.46,1.355,22.09,2.91), (29.765,1.355,31.545,2.91), (31.405,1.355,34.165,2.91), (34.015,1.355,37.235,2.91), (37.095,1.355,39.855,2.91), (39.855,1.355,42.155,2.91), (42.155,1.355,44.455,2.91), (44.26,1.355,47.02,2.91), (47.02,1.355,51.52,2.91), (21.07,1.43,21.46,2.91), (26.105,1.605,28.175,2.91), (22.09,1.68,22.89,2.91), (23.28,1.68,25.08,2.91), (22.89,1.715,23.28,2.91), (25.08,1.715,25.715,2.91), (25.715,1.935,26.105,2.91), (28.175,1.935,29.765,2.91)])
R(c_c, npc, [(25.3,0.685,25.67,1.705), (28.41,0.685,28.705,1.595), (28.705,0.685,28.78,1.925), (25.67,0.745,25.725,1.705), (25.725,0.745,26.095,1.925), (26.095,0.745,26.645,1.595), (22.61,0.825,22.9,1.67), (22.9,0.825,22.98,1.705), (23.87,0.825,24.24,1.345), (22.1,0.96,22.61,1.67), (1.84,0.975,3.22,1.345), (3.22,0.975,5.52,1.345), (5.52,0.975,6.9,1.345), (6.9,0.975,8.28,1.345), (8.28,0.975,12.42,1.345), (12.42,0.975,16.56,1.345), (16.365,0.975,20.505,1.345), (20.505,0.975,21.08,1.345), (21.08,0.975,21.45,1.42), (21.45,0.975,22.1,1.345), (22.98,0.975,23.27,1.705), (23.27,0.975,23.87,1.345), (24.24,0.975,24.41,1.345), (24.41,0.975,25.09,1.67), (25.09,0.975,25.3,1.705), (26.645,0.975,26.965,1.595), (26.965,0.975,27.68,1.345), (27.68,0.975,28.195,1.395), (28.195,0.975,28.41,1.595), (28.78,0.975,29.755,1.925), (29.755,0.975,31.545,1.345), (31.405,0.975,34.165,1.345), (34.015,0.975,37.235,1.345), (37.095,0.975,39.855,1.345), (39.855,0.975,42.155,1.345), (42.155,0.975,44.455,1.345), (44.26,0.975,47.02,1.345)])
A(c_c, pwell_pin, 5.66, -0.085, 0.17, 0.17, 3, 1, 1.385, 0)
R(c_c, pwell_pin, [(47.97,-0.12,48.19,0.05), (1.985,-0.085,2.155,0.085), (3.365,-0.085,3.535,0.085), (12.565,-0.085,12.735,0.085), (16.515,-0.085,16.685,0.085), (20.65,-0.085,20.82,0.085), (20.65,-0.085,20.82,0.085), (31.555,-0.085,31.725,0.085), (34.16,-0.085,34.33,0.085), (39.535,-0.085,39.705,0.085), (40,-0.085,40.17,0.085), (42.305,-0.085,42.475,0.085), (46.7,-0.085,46.87,0.085), (0.175,-0.06,0.285,0.06)])
R(c_c, boundary2, [(1.84,0,3.22,2.72), (3.22,0,5.52,2.72), (5.52,0,6.9,2.72), (6.9,0,8.28,2.72), (8.28,0,12.42,2.72), (12.42,0,16.56,2.72), (16.365,0,20.505,2.72), (20.505,0,31.545,2.72), (31.405,0,34.165,2.72), (34.015,0,37.235,2.72), (37.095,0,39.855,2.72), (39.855,0,42.155,2.72), (42.155,0,44.455,2.72), (44.26,0,47.02,2.72)])
c_c.add(gdstk.Label('VPWR', (0.92,2.72), layer=68, texttype=20))
c_c.add(gdstk.Label('VGND', (0.92,0), layer=68, texttype=20))

lib.write_gds('c.gds')
